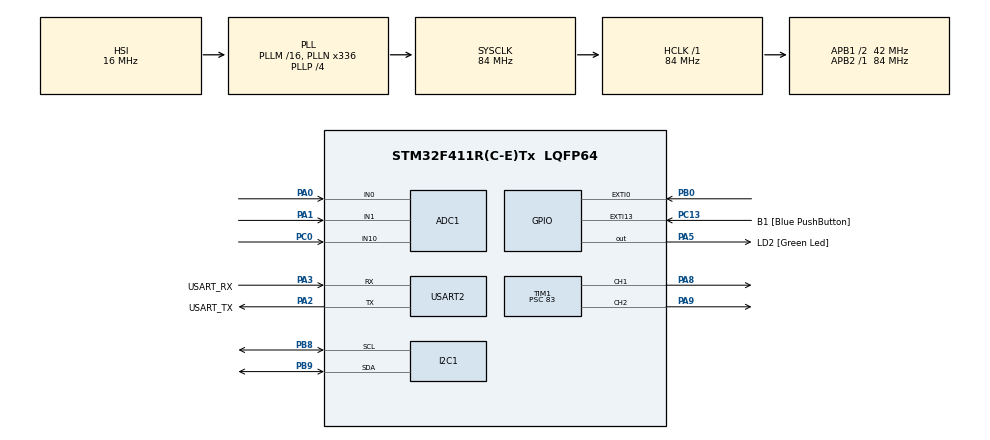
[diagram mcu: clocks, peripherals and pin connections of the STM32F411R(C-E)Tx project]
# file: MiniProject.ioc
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ADC1.Channel-0\#ChannelRegularConversion=ADC_CHANNEL_0
ADC1.Channel-1\#ChannelRegularConversion=ADC_CHANNEL_1
ADC1.ContinuousConvMode=ENABLE
ADC1.EnableAnalogWatchDog=true
ADC1.HighThreshold=400
ADC1.ITMode=ENABLE
ADC1.NbrOfConversion=2
ADC1.NbrOfConversionFlag=1
ADC1.Rank-0\#ChannelRegularConversion=1
ADC1.Rank-1\#ChannelRegularConversion=2
ADC1.SamplingTime-0\#ChannelRegularConversion=ADC_SAMPLETIME_3CYCLES
ADC1.SamplingTime-1\#ChannelRegularConversion=ADC_SAMPLETIME_3CYCLES
ADC1.master=1
Mcu.Family=STM32F4
Mcu.Name=STM32F411R(C-E)Tx
Mcu.Package=LQFP64
NVIC.ADC_IRQn=true\:0\:0\:false\:false\:true\:true\:true\:true
NVIC.EXTI0_IRQn=true\:0\:0\:false\:false\:true\:true\:true\:true
NVIC.PriorityGroup=NVIC_PRIORITYGROUP_0
NVIC.TIM1_UP_TIM10_IRQn=true\:0\:0\:false\:false\:true\:true\:true\:true
PA0-WKUP.Signal=ADCx_IN0
PA1.Signal=ADCx_IN1
PA13.GPIO_Label=TMS
PA13.Mode=Serial_Wire
PA13.Signal=SYS_JTMS-SWDIO
PA14.GPIO_Label=TCK
PA14.Mode=Serial_Wire
PA14.Signal=SYS_JTCK-SWCLK
PA2.GPIO_Label=USART_TX
PA2.Mode=Asynchronous
PA2.Signal=USART2_TX
PA3.GPIO_Label=USART_RX
PA3.Mode=Asynchronous
PA3.Signal=USART2_RX
PA5.GPIO_Label=LD2 [Green Led]
PA5.Signal=GPIO_Output
PA8.Signal=S_TIM1_CH1
PA9.Signal=S_TIM1_CH2
PB0.GPIO_ModeDefaultEXTI=GPIO_MODE_IT_FALLING
PB0.GPIO_PuPd=GPIO_PULLUP
PB0.Signal=GPXTI0
PB3.GPIO_Label=SWO
PB3.Signal=SYS_JTDO-SWO
PB8.Mode=I2C
PB8.Signal=I2C1_SCL
PB9.Mode=I2C
PB9.Signal=I2C1_SDA
PC0.Signal=ADCx_IN10
PC13-ANTI_TAMP.GPIO_Label=B1 [Blue PushButton]
PC13-ANTI_TAMP.GPIO_ModeDefaultEXTI=GPIO_MODE_IT_FALLING
PC13-ANTI_TAMP.Signal=GPXTI13
PC14-OSC32_IN.Mode=LSE-External-Oscillator
PC14-OSC32_IN.Signal=RCC_OSC32_IN
PC15-OSC32_OUT.Mode=LSE-External-Oscillator
PC15-OSC32_OUT.Signal=RCC_OSC32_OUT
PH0\ -\ OSC_IN.Mode=HSE-External-Clock-Source
PH0\ -\ OSC_IN.Signal=RCC_OSC_IN
PH1\ -\ OSC_OUT.Mode=HSE-External-Clock-Source
PH1\ -\ OSC_OUT.Signal=RCC_OSC_OUT
ProjectManager.HeapSize=0x200
ProjectManager.StackSize=0x400
ProjectManager.TargetToolchain=MDK-ARM V5.32
RCC.48MHZClocksFreq_Value=84000000
RCC.AHBFreq_Value=84000000
RCC.APB1CLKDivider=RCC_HCLK_DIV2
RCC.APB1Freq_Value=42000000
RCC.APB1TimFreq_Value=84000000
RCC.APB2Freq_Value=84000000
RCC.APB2TimFreq_Value=84000000
RCC.CortexFreq_Value=84000000
RCC.FLatency-AdvancedSettings=FLASH_LATENCY_2
RCC.HCLKFreq_Value=84000000
RCC.HSE_VALUE=8000000
RCC.HSI_VALUE=16000000
RCC.PLLN=336
RCC.PLLP=RCC_PLLP_DIV4
RCC.SYSCLKFreq_VALUE=84000000
RCC.SYSCLKSource=RCC_SYSCLKSOURCE_PLLCLK
RCC.VCOOutputFreq_Value=336000000
SH.ADCx_IN0.0=ADC1_IN0,IN0
SH.ADCx_IN1.0=ADC1_IN1,IN1
SH.ADCx_IN10.0=ADC1_IN10,IN10
SH.S_TIM1_CH1.0=TIM1_CH1,PWM Generation1 CH1
SH.S_TIM1_CH2.0=TIM1_CH2,PWM Generation2 CH2
TIM1.Channel-PWM\ Generation1\ CH1=TIM_CHANNEL_1
TIM1.Channel-PWM\ Generation2\ CH2=TIM_CHANNEL_2
TIM1.Period=19999
TIM1.Prescaler=83
USART2.VirtualMode=VM_ASYNC
VP_TIM1_VS_ClockSourceINT.Mode=Internal
board=NUCLEO-F411RE

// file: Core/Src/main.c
/* USER CODE BEGIN Header */
/**
  ******************************************************************************
  * @file           : main.c
  * @brief          : Main program body
  ******************************************************************************
  * @attention
  *
  * Copyright (c) 2025 STMicroelectronics.
  * All rights reserved.
  *
  * This software is licensed under terms that can be found in the LICENSE file
  * in the root directory of this software component.
  * If no LICENSE file comes with this software, it is provided AS-IS.
  *
  ******************************************************************************
  */
/* USER CODE END Header */
#include "main.h"

/* USER CODE BEGIN Includes */
#include "Myservo.h"
#include "my_1602.h"
#include <string.h>
#include <stdio.h>
/* USER CODE END Includes */

/* USER CODE BEGIN PD */

#define LCD_SPEED_INDEX (uint8_t)8
#define LCD_RAIN_INDEX (uint8_t)7

#define X_CHANNEL ADC_CHANNEL_0
#define Y_CHANNEL ADC_CHANNEL_1
#define WATER_CHANNEL ADC_CHANNEL_10
/* USER CODE END PD */

ADC_HandleTypeDef hadc1;

I2C_HandleTypeDef hi2c1;

TIM_HandleTypeDef htim1;

UART_HandleTypeDef huart2;

void SystemClock_Config(void);
static void MX_GPIO_Init(void);
static void MX_I2C1_Init(void);
static void MX_TIM1_Init(void);
static void MX_USART2_UART_Init(void);
static void MX_ADC1_Init(void);
/* USER CODE BEGIN PFP */
void Start_ADC_Conversion(uint32_t channel);
void Print_Value(uint32_t value);

/* USER CODE END PFP */

/* USER CODE BEGIN 0 */

	// ---------------------------------------------------------------JoyStick Start

	uint16_t adc_y_val = 0;
	uint16_t x_val = 0;
	uint16_t y_val = 0;
	uint8_t  current_channel = 0; // 0: X, 1: Y
	uint8_t joy_button = 0;

	volatile uint32_t prev_adc_x_val = -1;
	volatile uint32_t prev_adc_y_val = -1;

	// ---------------------------------------------------------------JoyStick end

	// ---------------------------------------------------------------Water Sensor Start

	const uint16_t MIN[4] = {0, 600, 1200, 1800};
	const uint16_t MAX[4] = {400, 900, 1500, 2100};
	volatile uint32_t autoMode = 0;
	volatile uint32_t mode = 0;
	uint32_t prev_range = 0;
	uint16_t water_val = 0;

	// ---------------------------------------------------------------Water Sensor End

	// ---------------------------------------------------------------Servo Start

	Servo myservo1;
	Servo myservo2;
	volatile uint16_t angle = 0;
	volatile uint8_t iDirection = 0;
	volatile uint8_t isWorking = 0;
	// ---------------------------------------------------------------Servo End

	// ---------------------------------------------------------------Flag
	typedef enum {STOP = 0, LOW, MID, HIGH, AUTO } Progress; // imsi
	// ---------------------------------------------------------------Flag

	// ---------------------------------------------------------------LCD Start
	volatile uint8_t lcd_update_flag = 0;
	char strLCDSpeed[] = "Speed : ";
	char strLCDRain[] = "Rain : ";
	char *speedStr[5] = {"Stop", "Low", "Mid", "High", "Auto"};
	uint8_t rainChar[8] = {
		0b00100,
		0b00100,
		0b01010,
		0b01010,
		0b10001,
		0b10001,
		0b01110,
		0b00000
	};

	uint8_t emptyChar[8] = {
		0b00000,
		0b00000,
		0b00000,
		0b00000,
		0b00000,
		0b00000,
		0b00000,
		0b00000
	};

	// ---------------------------------------------------------------LCD End
/* USER CODE END 0 */

int main(void)
{

  /* MCU Configuration--------------------------------------------------------*/

  /* Reset of all peripherals, Initializes the Flash interface and the Systick. */
  HAL_Init();

  /* Configure the system clock */
  SystemClock_Config();

  /* Initialize all configured peripherals */
  MX_GPIO_Init();
  MX_I2C1_Init();
  MX_TIM1_Init();
  MX_USART2_UART_Init();
  MX_ADC1_Init();
  /* USER CODE BEGIN 2 */

  // ------------------------------------------------------------- joystic init Start
	current_channel = 0;
  Start_ADC_Conversion(X_CHANNEL);
	uint16_t prev_x_val = -1;
	uint16_t prev_y_val = -1;
	HAL_NVIC_SetPriority(EXTI0_IRQn, 0, 0); // 높은 우선순위
	HAL_NVIC_EnableIRQ(EXTI0_IRQn);
  // ------------------------------------------------------------- joystic init End

  // ------------------------------------------------------------- water Sensor init Start
	HAL_NVIC_SetPriority(ADC_IRQn, 1, 0);
	HAL_NVIC_EnableIRQ(ADC_IRQn);
	HAL_ADC_Start_IT(&hadc1);
	// ------------------------------------------------------------- water Sensor init End

	// ------------------------------------------------------------- servo init Start

	HAL_NVIC_SetPriority(TIM1_UP_TIM10_IRQn, 2, 0);
	HAL_NVIC_EnableIRQ(TIM1_UP_TIM10_IRQn);
	init_Servo(&myservo1, TIM_CHANNEL_1, &htim1);
	init_Servo(&myservo2, TIM_CHANNEL_2, &htim1);

	myservo1.Set_Range(&myservo1,0,180,500,2500);
	myservo2.Set_Range(&myservo2,0,180,500,2500);

	HAL_TIM_Base_Start_IT(&htim1);
	// --------------------------------------------------------------- servo init End

	// --------------------------------------------------------------- LCD init Start

	HAL_Delay(1000); // imsi
	lcd_init(&hi2c1);

	lcd_send_string(strLCDSpeed);
	lcd_set_cursor(0,LCD_SPEED_INDEX);
	lcd_send_string("Stop");
	HAL_Delay(1000);
	lcd_create_char(0,rainChar);
	lcd_create_char(1,emptyChar);

	// --------------------------------------------------------------- LCD init Start

	Servo myservo3;

	/* USER CODE END 2 */

  /* Infinite loop */
 while (1)
  {

    /* USER CODE BEGIN 3 */
		char msg[50] = {0};

		if(x_val != prev_x_val)
		{
			if(x_val > 2500)
			{
				mode = 3;
				isWorking = 1;
				lcd_update_flag = 1;
				sprintf(msg, "HIGH");
				myservo1.Set_angle(&myservo1,angle);
				myservo2.Set_angle(&myservo2,angle);
			}

			else if(x_val < 1500)
			{
				mode = 4;
				sprintf(msg, "AUTO");
				lcd_update_flag = 1;

				 HAL_ADC_Stop_IT(&hadc1);
         Start_ADC_Conversion(WATER_CHANNEL);
				myservo1.Set_angle(&myservo1,angle);
				myservo2.Set_angle(&myservo2,angle);
			}
			else
				;

			HAL_UART_Transmit(&huart2, (uint8_t*)msg, strlen(msg), HAL_MAX_DELAY);
			prev_x_val = x_val;
		}

		if(y_val != prev_y_val)
		{
			if(y_val > 2500)
			{
				mode = 2;
				isWorking = 1;
				lcd_update_flag = 1;
				sprintf(msg, "NORMAL");
				myservo1.Set_angle(&myservo1,angle);
				myservo2.Set_angle(&myservo2,angle);
			}

			else if(y_val < 1500)
			{
				mode = 1;
				isWorking = 1;
				lcd_update_flag = 1;
				sprintf(msg, "LOW");
				myservo1.Set_angle(&myservo1,angle);
				myservo2.Set_angle(&myservo2,angle);
			}
			else
				;

			HAL_UART_Transmit(&huart2, (uint8_t*)msg, strlen(msg), HAL_MAX_DELAY);
			prev_y_val = y_val;
		}

		if(joy_button)
		{
			mode = 0;
			sprintf(msg, "STOP");
			HAL_UART_Transmit(&huart2, (uint8_t*)msg, strlen(msg), HAL_MAX_DELAY);
			joy_button = 0;
		}

		if(lcd_update_flag)
		{
				lcd_replace_char(0,LCD_SPEED_INDEX, LCD_SPEED_INDEX+5,0x01);
				lcd_set_cursor(0,LCD_SPEED_INDEX);
			  lcd_send_string(speedStr[mode]);
				HAL_Delay(10);
				lcd_set_cursor(1,0);
				lcd_send_string(strLCDRain);

				lcd_set_cursor(1,LCD_RAIN_INDEX);
				lcd_replace_char(1,LCD_RAIN_INDEX, LCD_RAIN_INDEX + 3,0x00);

				lcd_replace_char(1,(LCD_RAIN_INDEX + autoMode), LCD_RAIN_INDEX + 3, 0x01);

				if(mode != AUTO){
					lcd_replace_char(1,0,16,0x01);
				}

				lcd_update_flag = 0;
		}
		HAL_Delay(100);

  }
  /* USER CODE END 3 */
}

void SystemClock_Config(void)
{
  RCC_OscInitTypeDef RCC_OscInitStruct = {0};
  RCC_ClkInitTypeDef RCC_ClkInitStruct = {0};

  /** Configure the main internal regulator output voltage
  */
  __HAL_RCC_PWR_CLK_ENABLE();
  __HAL_PWR_VOLTAGESCALING_CONFIG(PWR_REGULATOR_VOLTAGE_SCALE1);

  /** Initializes the RCC Oscillators according to the specified parameters
  * in the RCC_OscInitTypeDef structure.
  */
  RCC_OscInitStruct.OscillatorType = RCC_OSCILLATORTYPE_HSI;
  RCC_OscInitStruct.HSIState = RCC_HSI_ON;
  RCC_OscInitStruct.HSICalibrationValue = RCC_HSICALIBRATION_DEFAULT;
  RCC_OscInitStruct.PLL.PLLState = RCC_PLL_ON;
  RCC_OscInitStruct.PLL.PLLSource = RCC_PLLSOURCE_HSI;
  RCC_OscInitStruct.PLL.PLLM = 16;
  RCC_OscInitStruct.PLL.PLLN = 336;
  RCC_OscInitStruct.PLL.PLLP = RCC_PLLP_DIV4;
  RCC_OscInitStruct.PLL.PLLQ = 4;
  if (HAL_RCC_OscConfig(&RCC_OscInitStruct) != HAL_OK)
  {
    Error_Handler();
  }

  /** Initializes the CPU, AHB and APB buses clocks
  */
  RCC_ClkInitStruct.ClockType = RCC_CLOCKTYPE_HCLK|RCC_CLOCKTYPE_SYSCLK
                              |RCC_CLOCKTYPE_PCLK1|RCC_CLOCKTYPE_PCLK2;
  RCC_ClkInitStruct.SYSCLKSource = RCC_SYSCLKSOURCE_PLLCLK;
  RCC_ClkInitStruct.AHBCLKDivider = RCC_SYSCLK_DIV1;
  RCC_ClkInitStruct.APB1CLKDivider = RCC_HCLK_DIV2;
  RCC_ClkInitStruct.APB2CLKDivider = RCC_HCLK_DIV1;

  if (HAL_RCC_ClockConfig(&RCC_ClkInitStruct, FLASH_LATENCY_2) != HAL_OK)
  {
    Error_Handler();
  }
}

static void MX_ADC1_Init(void)
{

  ADC_AnalogWDGConfTypeDef AnalogWDGConfig = {0};
  ADC_ChannelConfTypeDef sConfig = {0};

  /** Configure the global features of the ADC (Clock, Resolution, Data Alignment and number of conversion)
  */
  hadc1.Instance = ADC1;
  hadc1.Init.ClockPrescaler = ADC_CLOCK_SYNC_PCLK_DIV4;
  hadc1.Init.Resolution = ADC_RESOLUTION_12B;
  hadc1.Init.ScanConvMode = ENABLE;
  hadc1.Init.ContinuousConvMode = ENABLE;
  hadc1.Init.DiscontinuousConvMode = DISABLE;
  hadc1.Init.ExternalTrigConvEdge = ADC_EXTERNALTRIGCONVEDGE_NONE;
  hadc1.Init.ExternalTrigConv = ADC_SOFTWARE_START;
  hadc1.Init.DataAlign = ADC_DATAALIGN_RIGHT;
  hadc1.Init.NbrOfConversion = 2;
  hadc1.Init.DMAContinuousRequests = DISABLE;
  hadc1.Init.EOCSelection = ADC_EOC_SINGLE_CONV;
  if (HAL_ADC_Init(&hadc1) != HAL_OK)
  {
    Error_Handler();
  }

  /** Configure the analog watchdog
  */
  AnalogWDGConfig.WatchdogMode = ADC_ANALOGWATCHDOG_SINGLE_REG;
  AnalogWDGConfig.HighThreshold = 400;
  AnalogWDGConfig.LowThreshold = 0;
  AnalogWDGConfig.Channel = ADC_CHANNEL_0;
  AnalogWDGConfig.ITMode = ENABLE;
  if (HAL_ADC_AnalogWDGConfig(&hadc1, &AnalogWDGConfig) != HAL_OK)
  {
    Error_Handler();
  }

  /** Configure for the selected ADC regular channel its corresponding rank in the sequencer and its sample time.
  */
  sConfig.Channel = ADC_CHANNEL_0;
  sConfig.Rank = 1;
  sConfig.SamplingTime = ADC_SAMPLETIME_3CYCLES;
  if (HAL_ADC_ConfigChannel(&hadc1, &sConfig) != HAL_OK)
  {
    Error_Handler();
  }

  /** Configure for the selected ADC regular channel its corresponding rank in the sequencer and its sample time.
  */
  sConfig.Channel = ADC_CHANNEL_1;
  sConfig.Rank = 2;
  if (HAL_ADC_ConfigChannel(&hadc1, &sConfig) != HAL_OK)
  {
    Error_Handler();
  }

}

static void MX_I2C1_Init(void)
{

  hi2c1.Instance = I2C1;
  hi2c1.Init.ClockSpeed = 100000;
  hi2c1.Init.DutyCycle = I2C_DUTYCYCLE_2;
  hi2c1.Init.OwnAddress1 = 0;
  hi2c1.Init.AddressingMode = I2C_ADDRESSINGMODE_7BIT;
  hi2c1.Init.DualAddressMode = I2C_DUALADDRESS_DISABLE;
  hi2c1.Init.OwnAddress2 = 0;
  hi2c1.Init.GeneralCallMode = I2C_GENERALCALL_DISABLE;
  hi2c1.Init.NoStretchMode = I2C_NOSTRETCH_DISABLE;
  if (HAL_I2C_Init(&hi2c1) != HAL_OK)
  {
    Error_Handler();
  }

}

static void MX_TIM1_Init(void)
{

  TIM_ClockConfigTypeDef sClockSourceConfig = {0};
  TIM_MasterConfigTypeDef sMasterConfig = {0};
  TIM_OC_InitTypeDef sConfigOC = {0};
  TIM_BreakDeadTimeConfigTypeDef sBreakDeadTimeConfig = {0};

  htim1.Instance = TIM1;
  htim1.Init.Prescaler = 83;
  htim1.Init.CounterMode = TIM_COUNTERMODE_UP;
  htim1.Init.Period = 19999;
  htim1.Init.ClockDivision = TIM_CLOCKDIVISION_DIV1;
  htim1.Init.RepetitionCounter = 0;
  htim1.Init.AutoReloadPreload = TIM_AUTORELOAD_PRELOAD_DISABLE;
  if (HAL_TIM_Base_Init(&htim1) != HAL_OK)
  {
    Error_Handler();
  }
  sClockSourceConfig.ClockSource = TIM_CLOCKSOURCE_INTERNAL;
  if (HAL_TIM_ConfigClockSource(&htim1, &sClockSourceConfig) != HAL_OK)
  {
    Error_Handler();
  }
  if (HAL_TIM_PWM_Init(&htim1) != HAL_OK)
  {
    Error_Handler();
  }
  sMasterConfig.MasterOutputTrigger = TIM_TRGO_RESET;
  sMasterConfig.MasterSlaveMode = TIM_MASTERSLAVEMODE_DISABLE;
  if (HAL_TIMEx_MasterConfigSynchronization(&htim1, &sMasterConfig) != HAL_OK)
  {
    Error_Handler();
  }
  sConfigOC.OCMode = TIM_OCMODE_PWM1;
  sConfigOC.Pulse = 0;
  sConfigOC.OCPolarity = TIM_OCPOLARITY_HIGH;
  sConfigOC.OCNPolarity = TIM_OCNPOLARITY_HIGH;
  sConfigOC.OCFastMode = TIM_OCFAST_DISABLE;
  sConfigOC.OCIdleState = TIM_OCIDLESTATE_RESET;
  sConfigOC.OCNIdleState = TIM_OCNIDLESTATE_RESET;
  if (HAL_TIM_PWM_ConfigChannel(&htim1, &sConfigOC, TIM_CHANNEL_1) != HAL_OK)
  {
    Error_Handler();
  }
  if (HAL_TIM_PWM_ConfigChannel(&htim1, &sConfigOC, TIM_CHANNEL_2) != HAL_OK)
  {
    Error_Handler();
  }
  sBreakDeadTimeConfig.OffStateRunMode = TIM_OSSR_DISABLE;
  sBreakDeadTimeConfig.OffStateIDLEMode = TIM_OSSI_DISABLE;
  sBreakDeadTimeConfig.LockLevel = TIM_LOCKLEVEL_OFF;
  sBreakDeadTimeConfig.DeadTime = 0;
  sBreakDeadTimeConfig.BreakState = TIM_BREAK_DISABLE;
  sBreakDeadTimeConfig.BreakPolarity = TIM_BREAKPOLARITY_HIGH;
  sBreakDeadTimeConfig.AutomaticOutput = TIM_AUTOMATICOUTPUT_DISABLE;
  if (HAL_TIMEx_ConfigBreakDeadTime(&htim1, &sBreakDeadTimeConfig) != HAL_OK)
  {
    Error_Handler();
  }
  HAL_TIM_MspPostInit(&htim1);

}

static void MX_USART2_UART_Init(void)
{

  huart2.Instance = USART2;
  huart2.Init.BaudRate = 115200;
  huart2.Init.WordLength = UART_WORDLENGTH_8B;
  huart2.Init.StopBits = UART_STOPBITS_1;
  huart2.Init.Parity = UART_PARITY_NONE;
  huart2.Init.Mode = UART_MODE_TX_RX;
  huart2.Init.HwFlowCtl = UART_HWCONTROL_NONE;
  huart2.Init.OverSampling = UART_OVERSAMPLING_16;
  if (HAL_UART_Init(&huart2) != HAL_OK)
  {
    Error_Handler();
  }

}

static void MX_GPIO_Init(void)
{
  GPIO_InitTypeDef GPIO_InitStruct = {0};

  /* GPIO Ports Clock Enable */
  __HAL_RCC_GPIOC_CLK_ENABLE();
  __HAL_RCC_GPIOH_CLK_ENABLE();
  __HAL_RCC_GPIOA_CLK_ENABLE();
  __HAL_RCC_GPIOB_CLK_ENABLE();

  /*Configure GPIO pin Output Level */
  HAL_GPIO_WritePin(LD2_GPIO_Port, LD2_Pin, GPIO_PIN_RESET);

  /*Configure GPIO pin : B1_Pin */
  GPIO_InitStruct.Pin = B1_Pin;
  GPIO_InitStruct.Mode = GPIO_MODE_IT_FALLING;
  GPIO_InitStruct.Pull = GPIO_NOPULL;
  HAL_GPIO_Init(B1_GPIO_Port, &GPIO_InitStruct);

  /*Configure GPIO pin : LD2_Pin */
  GPIO_InitStruct.Pin = LD2_Pin;
  GPIO_InitStruct.Mode = GPIO_MODE_OUTPUT_PP;
  GPIO_InitStruct.Pull = GPIO_NOPULL;
  GPIO_InitStruct.Speed = GPIO_SPEED_FREQ_LOW;
  HAL_GPIO_Init(LD2_GPIO_Port, &GPIO_InitStruct);

  /*Configure GPIO pin : PB0 */
  GPIO_InitStruct.Pin = GPIO_PIN_0;
  GPIO_InitStruct.Mode = GPIO_MODE_IT_FALLING;
  GPIO_InitStruct.Pull = GPIO_PULLUP;
  HAL_GPIO_Init(GPIOB, &GPIO_InitStruct);

  /* EXTI interrupt init*/
  HAL_NVIC_SetPriority(EXTI0_IRQn, 0, 0);
  HAL_NVIC_EnableIRQ(EXTI0_IRQn);

}

/* USER CODE BEGIN 4 */

void Print_Value(uint32_t value)
{
    char msg[50];
    if(value >= MIN[0] && value <= MAX[0])
    {
        if(prev_range != 0)
        {
            sprintf(msg, "STOP %u\n", value);
            HAL_UART_Transmit(&huart2, (uint8_t*)msg, strlen(msg), HAL_MAX_DELAY);
            prev_range = 0;
            autoMode = 0;
						lcd_update_flag = 1;
						isWorking = 0;
        }
    }
    else
    {
        for(uint8_t i = 1; i < 4; i++)
        {
            if(value >= MIN[i] && value <= MAX[i])
            {
                if(prev_range != i)
                {
                    switch(i)
                    {
                        case 1:
                            sprintf(msg,"LOW %u\n", value);
                            autoMode = 1;
                            break;

                        case 2:
                            sprintf(msg,"NORMAL %u\n", value);
                            autoMode = 2;
                            break;

                        case 3:
                            sprintf(msg,"HIGH %u\n", value);
                            autoMode = 3;
                            break;
                    }
                    HAL_UART_Transmit(&huart2, (uint8_t*)msg, strlen(msg), HAL_MAX_DELAY);
                    prev_range = i;
										lcd_update_flag = 1;
										isWorking = 1;
                }
                break;
            }
        }
    }
}
void HAL_ADC_ConvCpltCallback(ADC_HandleTypeDef* hadc)
{
    uint16_t val = HAL_ADC_GetValue(hadc);

    if (mode == 4) // AUTO ����� �� ���� ����
    {
        water_val = val;
        Print_Value(val);

        // Watchdog ���� �缳��
        ADC_AnalogWDGConfTypeDef awd = {0};
        awd.WatchdogMode = ADC_ANALOGWATCHDOG_SINGLE_REG;
        awd.HighThreshold = MAX[autoMode];
        awd.LowThreshold = MIN[autoMode];
        awd.Channel = WATER_CHANNEL;
        awd.ITMode = ENABLE;
        HAL_ADC_AnalogWDGConfig(hadc, &awd);

				Start_ADC_Conversion(WATER_CHANNEL);
    }
    else // MODE != 0 �� ���̽�ƽ ó��
    {
        if(current_channel == 0)
        {
            x_val = val;
            current_channel = 1;
            Start_ADC_Conversion(Y_CHANNEL);
        }
        else
        {
            y_val = val;
            current_channel = 0;
            Start_ADC_Conversion(X_CHANNEL);
        }
    }
}

void HAL_ADC_LevelOutOfWindowCallback(ADC_HandleTypeDef* hadc)
{
    if (hadc->Instance == ADC1 && mode == 0)
    {
        Print_Value(water_val);
    }
}

void Start_ADC_Conversion(uint32_t channel)
{
    ADC_ChannelConfTypeDef sConfig = {0};
    sConfig.Channel = channel;
		sConfig.Rank = 1;
    sConfig.SamplingTime = ADC_SAMPLETIME_15CYCLES;
    HAL_ADC_ConfigChannel(&hadc1, &sConfig);

    HAL_ADC_Start_IT(&hadc1);
}

void HAL_GPIO_EXTI_Callback(uint16_t GPIO_Pin)
{
    if(GPIO_Pin == GPIO_PIN_0 && HAL_GPIO_ReadPin(GPIOB, GPIO_PIN_0) == GPIO_PIN_RESET)
    {
        joy_button = 1;
				isWorking = 0;
				lcd_update_flag = 1;
    }
}

void HAL_TIM_PeriodElapsedCallback(TIM_HandleTypeDef *htim){

		if(htim->Instance == TIM1)
		{
			if((mode+autoMode) % 4 == 0){
					angle = 0;
			}

			if(isWorking)
			{
				uint8_t gap = 0;

					switch((mode+autoMode) % 4)
					{
						case LOW :
							gap = 4;
							break;
						case MID:
							gap = 7;
							break;
						case HIGH:
							gap = 9;
						break;
					}

					if(iDirection)
					{
						if( angle >= gap)
							angle -= gap;
						else
							angle = myservo1.Min_Angle;
					}
					else{
						angle += gap;
					}

					if(angle >= myservo1.Max_Angle) // 방향 전환
						iDirection = 1;
					else if( angle <= myservo1.Min_Angle)
						iDirection = 0;
			}
			myservo1.Set_angle(&myservo1,angle);
			myservo2.Set_angle(&myservo2,angle);

		}
		// else if(htim->Instance == TIM2)
		// {
		// 	if(lcd_update_flag)
		// 	{
		// 		lcd_update_flag = 0;
		// 	}
		// }

}

/* USER CODE END 4 */

void Error_Handler(void)
{
  __disable_irq();
  while (1)
  {
  }
}
